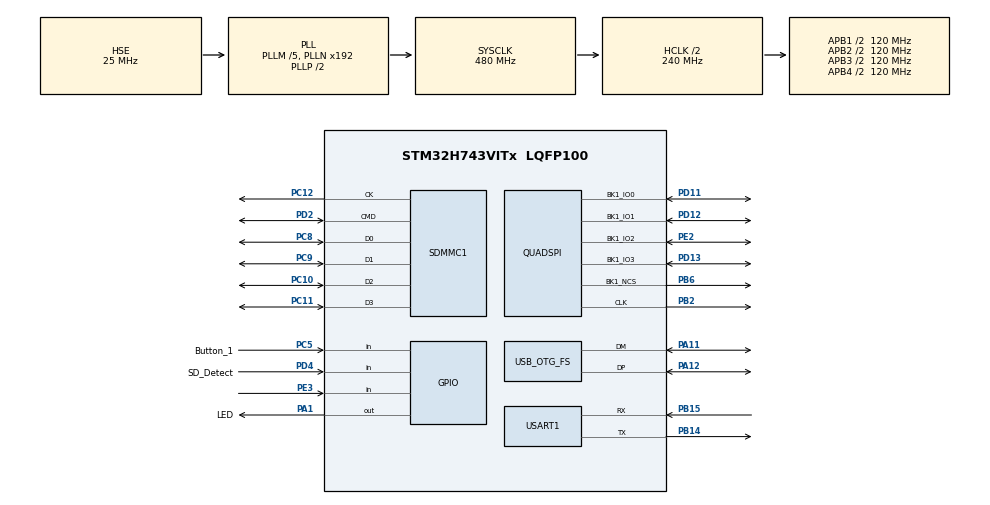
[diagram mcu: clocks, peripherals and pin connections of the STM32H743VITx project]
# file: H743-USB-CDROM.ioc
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Mcu.Family=STM32H7
USB_DEVICE.CLASS_NAME_FS=MSC
RCC.CortexFreq_Value=480000000
FATFS._USE_LFN=2
FATFS0.BSP.api=Unknown
RCC.HPRE=RCC_HCLK_DIV2
VP_FATFS_VS_SDIO.Mode=SDIO
PH0-OSC_IN\ (PH0).Signal=RCC_OSC_IN
PC12.Signal=SDMMC1_CK
PC10.Signal=SDMMC1_D2
PC15-OSC32_OUT\ (OSC32_OUT).Mode=LSE-External-Oscillator
PA11.Mode=Device_Only
PB15.Signal=USART1_RX
RCC.SYSCLKSource=RCC_SYSCLKSOURCE_PLLCLK
ProjectManager.StackSize=0x400
VP_FREERTOS_VS_CMSIS_V2.Mode=CMSIS_V2
PD13.Signal=QUADSPI_BK1_IO3
PA14\ (JTCK/SWCLK).Signal=DEBUG_JTCK-SWCLK
PA12.Signal=USB_OTG_FS_DP
NVIC.TIM17_IRQn=true\:0\:0\:false\:false\:true\:false\:false\:true
RCC.HCLKFreq_Value=240000000
PE2.Mode=Single Bank 1
PD4.Signal=GPIO_Input
PB6.Signal=QUADSPI_BK1_NCS
FATFS._MULTI_PARTITION=1
PB6.Mode=Single Bank 1
FATFS0.BSP.ip=GPIO
PH1-OSC_OUT\ (PH1).Mode=HSE-External-Oscillator
PB2.Signal=QUADSPI_CLK
FATFS0.BSP.i2caddr=0
RCC.DIVM3=25
RCC.DIVM2=25
RCC.DIVM1=5
PB14.Mode=Asynchronous
PC9.Mode=SD_4_bits_Wide_bus
PE2.Signal=QUADSPI_BK1_IO2
PA14\ (JTCK/SWCLK).Mode=Serial_Wire
FATFS._USE_LABEL=1
RCC.APB3Freq_Value=120000000
Mcu.Package=LQFP100
NVIC.TimeBase=TIM17_IRQn
RCC.D1PPRE=RCC_APB3_DIV2
RCC.SDMMC1CLockSelection=RCC_SDMMCCLKSOURCE_PLL2
PD12.Signal=QUADSPI_BK1_IO1
FATFS0.BSP.solution=PD4
NVIC.OTG_FS_IRQn=true\:5\:0\:false\:false\:true\:true\:false\:true
NVIC.TimeBaseIP=TIM17
USB_OTG_FS.VirtualMode=Device_Only
PC11.Mode=SD_4_bits_Wide_bus
PC14-OSC32_IN\ (OSC32_IN).Mode=LSE-External-Oscillator
RCC.APB4Freq_Value=120000000
PC5.Signal=GPIO_Input
VP_USB_DEVICE_VS_USB_DEVICE_MSC_FS.Mode=MSC_FS
PH0-OSC_IN\ (PH0).Mode=HSE-External-Oscillator
RCC.PLLSourceVirtual=RCC_PLLSOURCE_HSE
FATFS0.BSP.STBoard=false
USB_DEVICE.VirtualMode-MSC_FS=Msc
RCC.DIVQ3=4
CORTEX_M7.CPU_ICache=Enabled
RCC.DIVQ1=4
FREERTOS.Tasks01=defaultTask,24,128,StartDefaultTask,Default,NULL,Dynamic,NULL,NULL
PA13\ (JTMS/SWDIO).Mode=Serial_Wire
VP_SYS_VS_tim17.Mode=TIM17
USB_DEVICE.VirtualModeFS=Msc_FS
PC11.Signal=SDMMC1_D3
FATFS0.BSP.mode=Input
PC8.Signal=SDMMC1_D0
PC10.Mode=SD_4_bits_Wide_bus
RCC.D2PPRE2=RCC_APB2_DIV2
RCC.D2PPRE1=RCC_APB1_DIV2
USART1.FIFOMode=FIFOMODE_ENABLE
PH1-OSC_OUT\ (PH1).Signal=RCC_OSC_OUT
FATFS0.BSP.instance=PD4
USART1.VirtualMode-Asynchronous=VM_ASYNC
ProjectManager.TargetToolchain=STM32CubeIDE
PC15-OSC32_OUT\ (OSC32_OUT).Signal=RCC_OSC32_OUT
RCC.DIVN3=192
RCC.DIVN2=200
PD13.Mode=Single Bank 1
RCC.DIVN1=192
RCC.USBFreq_Value=48000000
PA1.Signal=GPIO_Output
PB14.Signal=USART1_TX
PD2.Mode=SD_4_bits_Wide_bus
FATFS.BSP.number=1
RCC.USBCLockSelection=RCC_USBCLKSOURCE_HSI48
PC12.Mode=SD_4_bits_Wide_bus
board=custom
PB15.Mode=Asynchronous
USART1.TXFIFOThreshold=TXFIFO_THRESHOLD_HALFFULL
RCC.APB2Freq_Value=120000000
FATFS._FS_EXFAT=1
PD4.GPIO_Label=SD_Detect
RCC.ADCFreq_Value=100000000
PA1.GPIO_Label=LED
Mcu.Name=STM32H743VITx
PC8.Mode=SD_4_bits_Wide_bus
RCC.SYSCLKFreq_VALUE=480000000
PD12.Mode=Single Bank 1
USART1.RXFIFOThreshold=RXFIFO_THRESHOLD_HALFFULL
PA12.Mode=Device_Only
PC14-OSC32_IN\ (OSC32_IN).Signal=RCC_OSC32_IN
PC5.GPIO_Label=Button_1
PD11.Signal=QUADSPI_BK1_IO0
PB2.Mode=Single Bank 1
PA11.Signal=USB_OTG_FS_DM
ProjectManager.HeapSize=0x200
PD11.Mode=Single Bank 1
NVIC.PriorityGroup=NVIC_PRIORITYGROUP_4
PE3.Signal=GPIO_Input
RCC.D3PPRE=RCC_APB4_DIV2
PC9.Signal=SDMMC1_D1
CORTEX_M7.CPU_DCache=Disabled
PD2.Signal=SDMMC1_CMD
RCC.APB1Freq_Value=120000000
RCC.DIVR2=10
RCC.DIVR1=4
FATFS0.BSP.name=Detect_SDIO
PA13\ (JTMS/SWDIO).Signal=DEBUG_JTMS-SWDIO

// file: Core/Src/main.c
/* USER CODE BEGIN Header */
/**
  ******************************************************************************
  * @file           : main.c
  * @brief          : Main program body
  ******************************************************************************
  * @attention
  *
  * <h2><center>&copy; Copyright (c) 2021 STMicroelectronics.
  * All rights reserved.</center></h2>
  *
  * This software component is licensed by ST under BSD 3-Clause license,
  * the "License"; You may not use this file except in compliance with the
  * License. You may obtain a copy of the License at:
  *                        opensource.org/licenses/BSD-3-Clause
  *
  ******************************************************************************
  */
/* USER CODE END Header */
#include "main.h"
#include "cmsis_os.h"
#include "fatfs.h"
#include "quadspi.h"
#include "sdmmc.h"
#include "usart.h"
#include "usb_device.h"
#include "gpio.h"

/* USER CODE BEGIN Includes */
#include "disk.h"
/* USER CODE END Includes */

void SystemClock_Config(void);
void MX_FREERTOS_Init(void);

/* USER CODE BEGIN 0 */
int __io_putchar(int ch){
	if((char)ch == '\n') __io_putchar((int)'\r');
	HAL_UART_Transmit(&huart1, (uint8_t *)&ch, 1,
			5000); // timeout is in what units? Examples give this as their preferred value?!?
	return ch;
}
int __io_getchar(void){
	char ch;
	if(HAL_UART_Receive(&huart1, (uint8_t *)&ch, 1, 5000) != HAL_TIMEOUT){
		return (int)ch;
	}
	return 0;
}
/* USER CODE END 0 */

int main(void)
{

  /* Enable I-Cache---------------------------------------------------------*/
  SCB_EnableICache();

  /* MCU Configuration--------------------------------------------------------*/

  /* Reset of all peripherals, Initializes the Flash interface and the Systick. */
  HAL_Init();

  /* Configure the system clock */
  SystemClock_Config();

  /* Initialize all configured peripherals */
  MX_GPIO_Init();
  MX_QUADSPI_Init();
  MX_SDMMC1_SD_Init();
  MX_FATFS_Init();
  MX_USART1_UART_Init();
  /* USER CODE BEGIN 2 */
  usbd_disk_init();
  //MX_USB_DEVICE_Init();
  /* USER CODE END 2 */

  /* Init scheduler */
  osKernelInitialize();  /* Call init function for freertos objects (in freertos.c) */
  MX_FREERTOS_Init();
  /* Start scheduler */
  osKernelStart();

  /* We should never get here as control is now taken by the scheduler */
  /* Infinite loop */
  while (1)
  {

  }
}

void SystemClock_Config(void)
{
  RCC_OscInitTypeDef RCC_OscInitStruct = {0};
  RCC_ClkInitTypeDef RCC_ClkInitStruct = {0};

  /** Supply configuration update enable
  */
  HAL_PWREx_ConfigSupply(PWR_LDO_SUPPLY);
  /** Configure the main internal regulator output voltage
  */
  __HAL_PWR_VOLTAGESCALING_CONFIG(PWR_REGULATOR_VOLTAGE_SCALE0);

  while(!__HAL_PWR_GET_FLAG(PWR_FLAG_VOSRDY)) {}
  /** Macro to configure the PLL clock source
  */
  __HAL_RCC_PLL_PLLSOURCE_CONFIG(RCC_PLLSOURCE_HSE);
  /** Initializes the RCC Oscillators according to the specified parameters
  * in the RCC_OscInitTypeDef structure.
  */
  RCC_OscInitStruct.OscillatorType = RCC_OSCILLATORTYPE_HSI48|RCC_OSCILLATORTYPE_HSE;
  RCC_OscInitStruct.HSEState = RCC_HSE_ON;
  RCC_OscInitStruct.HSI48State = RCC_HSI48_ON;
  RCC_OscInitStruct.PLL.PLLState = RCC_PLL_ON;
  RCC_OscInitStruct.PLL.PLLSource = RCC_PLLSOURCE_HSE;
  RCC_OscInitStruct.PLL.PLLM = 5;
  RCC_OscInitStruct.PLL.PLLN = 192;
  RCC_OscInitStruct.PLL.PLLP = 2;
  RCC_OscInitStruct.PLL.PLLQ = 4;
  RCC_OscInitStruct.PLL.PLLR = 4;
  RCC_OscInitStruct.PLL.PLLRGE = RCC_PLL1VCIRANGE_2;
  RCC_OscInitStruct.PLL.PLLVCOSEL = RCC_PLL1VCOWIDE;
  RCC_OscInitStruct.PLL.PLLFRACN = 0;
  if (HAL_RCC_OscConfig(&RCC_OscInitStruct) != HAL_OK)
  {
    Error_Handler();
  }
  /** Initializes the CPU, AHB and APB buses clocks
  */
  RCC_ClkInitStruct.ClockType = RCC_CLOCKTYPE_HCLK|RCC_CLOCKTYPE_SYSCLK
                              |RCC_CLOCKTYPE_PCLK1|RCC_CLOCKTYPE_PCLK2
                              |RCC_CLOCKTYPE_D3PCLK1|RCC_CLOCKTYPE_D1PCLK1;
  RCC_ClkInitStruct.SYSCLKSource = RCC_SYSCLKSOURCE_PLLCLK;
  RCC_ClkInitStruct.SYSCLKDivider = RCC_SYSCLK_DIV1;
  RCC_ClkInitStruct.AHBCLKDivider = RCC_HCLK_DIV2;
  RCC_ClkInitStruct.APB3CLKDivider = RCC_APB3_DIV2;
  RCC_ClkInitStruct.APB1CLKDivider = RCC_APB1_DIV2;
  RCC_ClkInitStruct.APB2CLKDivider = RCC_APB2_DIV2;
  RCC_ClkInitStruct.APB4CLKDivider = RCC_APB4_DIV2;

  if (HAL_RCC_ClockConfig(&RCC_ClkInitStruct, FLASH_LATENCY_4) != HAL_OK)
  {
    Error_Handler();
  }
}

 /**
  * @brief  Period elapsed callback in non blocking mode
  * @note   This function is called  when TIM17 interrupt took place, inside
  * HAL_TIM_IRQHandler(). It makes a direct call to HAL_IncTick() to increment
  * a global variable "uwTick" used as application time base.
  * @param  htim : TIM handle
  * @retval None
  */
void HAL_TIM_PeriodElapsedCallback(TIM_HandleTypeDef *htim)
{
  if (htim->Instance == TIM17) {
    HAL_IncTick();
  }
}

void Error_Handler(void)
{
  __disable_irq();
  while (1)
  {
  }
}

/************************ (C) COPYRIGHT STMicroelectronics *****END OF FILE****/

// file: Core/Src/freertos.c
/* USER CODE BEGIN Header */
/**
  ******************************************************************************
  * File Name          : freertos.c
  * Description        : Code for freertos applications
  ******************************************************************************
  * @attention
  *
  * <h2><center>&copy; Copyright (c) 2021 STMicroelectronics.
  * All rights reserved.</center></h2>
  *
  * This software component is licensed by ST under Ultimate Liberty license
  * SLA0044, the "License"; You may not use this file except in compliance with
  * the License. You may obtain a copy of the License at:
  *                             www.st.com/SLA0044
  *
  ******************************************************************************
  */
/* USER CODE END Header */

#include "FreeRTOS.h"
#include "task.h"
#include "main.h"
#include "cmsis_os.h"

/* USER CODE BEGIN Includes */
#include <stdio.h>
#include "usbd_def.h"
#include "usbd_core.h"
/* USER CODE END Includes */

/* Definitions for defaultTask */
osThreadId_t defaultTaskHandle;
const osThreadAttr_t defaultTask_attributes = {
  .name = "defaultTask",
  .stack_size = 128 * 4,
  .priority = (osPriority_t) osPriorityNormal,
};

void StartDefaultTask(void *argument);

extern void MX_USB_DEVICE_Init(void);
void MX_FREERTOS_Init(void); /* (MISRA C 2004 rule 8.1) */

void MX_FREERTOS_Init(void) {

  /* Create the thread(s) */
  /* creation of defaultTask */
  defaultTaskHandle = osThreadNew(StartDefaultTask, NULL, &defaultTask_attributes);

}

void StartDefaultTask(void *argument)
{
  /* init code for USB_DEVICE */
  MX_USB_DEVICE_Init();
  /* USER CODE BEGIN StartDefaultTask */
  /* Infinite loop */
  //int i = 0;
  for(;;)
  {
	  //printf("Testing %d\n", i++);
	  HAL_GPIO_TogglePin(LED_GPIO_Port, LED_Pin);
	  osDelay(500);
  }
  /* USER CODE END StartDefaultTask */
}

/************************ (C) COPYRIGHT STMicroelectronics *****END OF FILE****/
